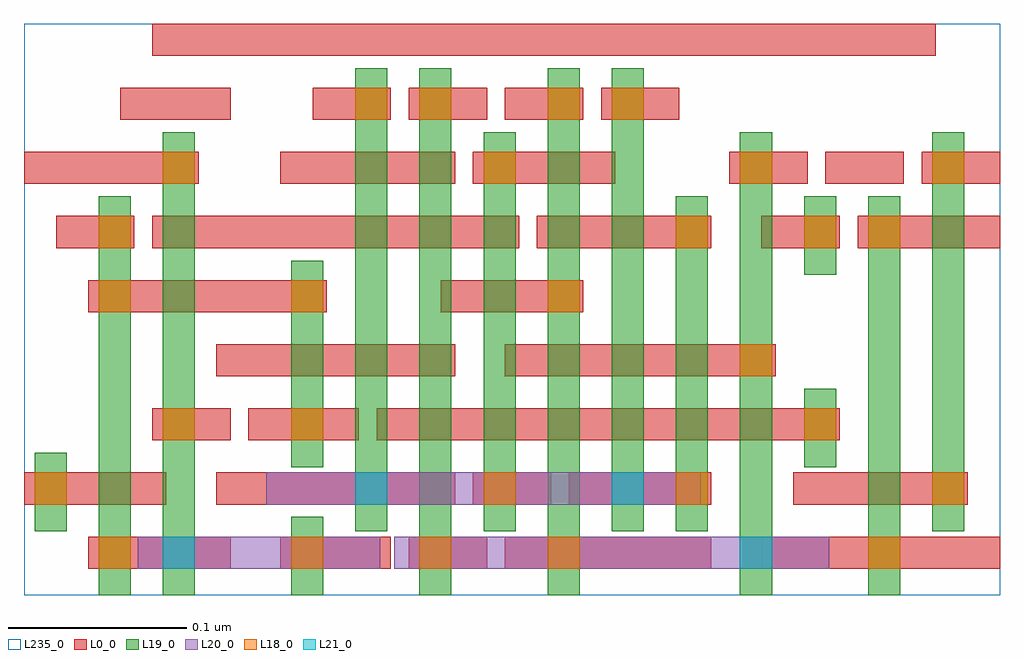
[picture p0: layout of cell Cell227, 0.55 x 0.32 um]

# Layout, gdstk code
import gdstk
lib = gdstk.Library(unit=1e-6, precision=2.5e-10)
def R(c, l, rs):  # rectangles x0, y0, x1, y1
    for r in rs: c.add(gdstk.rectangle(r[:2], r[2:], *l))
def A(c, l, x, y, w, h, nx, ny, dx, dy):  # array of equal rectangles
    R(c, l, [(x+i*dx, y+j*dy, x+i*dx+w, y+j*dy+h) for i in range(nx) for j in range(ny)])
L0_0 = (0, 0)
L18_0 = (18, 0)
L19_0 = (19, 0)
L20_0 = (20, 0)
L21_0 = (21, 0)
L235_0 = (235, 0)

cell227 = lib.new_cell('Cell227')
A(cell227, L0_0, 0.4, 0.215, 0.044, 0.018, 3, 1, 0.054, 0)
A(cell227, L0_0, 0.166, 0.251, 0.044, 0.018, 4, 1, 0.054, 0)
R(cell227, L0_0, [(0.04,-0.001,0.12,0.017), (0.148,-0.001,0.21,0.017), (0.22,-0.001,0.264,0.017), (0.274,-0.001,0.39,0.017), (0.418,-0.001,0.552,0.017), (0.004,0.035,0.084,0.053), (0.112,0.035,0.246,0.053), (0.256,0.035,0.3,0.053), (0.31,0.035,0.39,0.053), (0.436,0.035,0.534,0.053), (0.076,0.071,0.12,0.089), (0.13,0.071,0.192,0.089), (0.202,0.071,0.462,0.089), (0.112,0.107,0.246,0.125), (0.274,0.107,0.426,0.125), (0.04,0.143,0.174,0.161), (0.238,0.143,0.318,0.161), (0.022,0.179,0.066,0.197), (0.076,0.179,0.282,0.197), (0.292,0.179,0.39,0.197), (0.418,0.179,0.462,0.197), (0.472,0.179,0.552,0.197), (0.004,0.215,0.102,0.233), (0.148,0.215,0.246,0.233), (0.256,0.215,0.336,0.233), (0.058,0.251,0.12,0.269), (0.076,0.287,0.516,0.305)])
A(cell227, L18_0, 0.154, -0.001, 0.018, 0.018, 3, 1, 0.072, 0)
R(cell227, L18_0, [(0.046,-0.001,0.064,0.017), (0.478,-0.001,0.496,0.017), (0.01,0.035,0.028,0.053), (0.262,0.035,0.28,0.053), (0.37,0.035,0.388,0.053), (0.514,0.035,0.532,0.053), (0.082,0.071,0.1,0.089), (0.154,0.071,0.172,0.089), (0.442,0.071,0.46,0.089), (0.406,0.107,0.424,0.125), (0.046,0.143,0.064,0.161), (0.154,0.143,0.172,0.161), (0.298,0.143,0.316,0.161), (0.046,0.179,0.064,0.197), (0.37,0.179,0.388,0.197), (0.442,0.179,0.46,0.197), (0.478,0.179,0.496,0.197), (0.082,0.215,0.1,0.233), (0.262,0.215,0.28,0.233), (0.406,0.215,0.424,0.233), (0.514,0.215,0.532,0.233), (0.19,0.251,0.208,0.269), (0.226,0.251,0.244,0.269), (0.298,0.251,0.316,0.269), (0.334,0.251,0.352,0.269)])
R(cell227, L19_0, [(0.046,-0.016,0.064,0.208), (0.082,-0.016,0.1,0.244), (0.154,-0.016,0.172,0.028), (0.226,-0.016,0.244,0.28), (0.298,-0.016,0.316,0.28), (0.406,-0.016,0.424,0.244), (0.478,-0.016,0.496,0.208), (0.01,0.02,0.028,0.064), (0.19,0.02,0.208,0.28), (0.262,0.02,0.28,0.244), (0.334,0.02,0.352,0.28), (0.37,0.02,0.388,0.208), (0.514,0.02,0.532,0.244), (0.154,0.056,0.172,0.172), (0.442,0.056,0.46,0.1), (0.442,0.164,0.46,0.208)])
R(cell227, L20_0, [(0.068,-0.001,0.204,0.017), (0.212,-0.001,0.456,0.017), (0.14,0.035,0.384,0.053)])
R(cell227, L21_0, [(0.082,-0.001,0.1,0.017), (0.406,-0.001,0.424,0.017), (0.19,0.035,0.208,0.053), (0.334,0.035,0.352,0.053)])
R(cell227, L235_0, [(0.004,-0.016,0.552,0.305)])

lib.write_gds('Cell227.gds')
